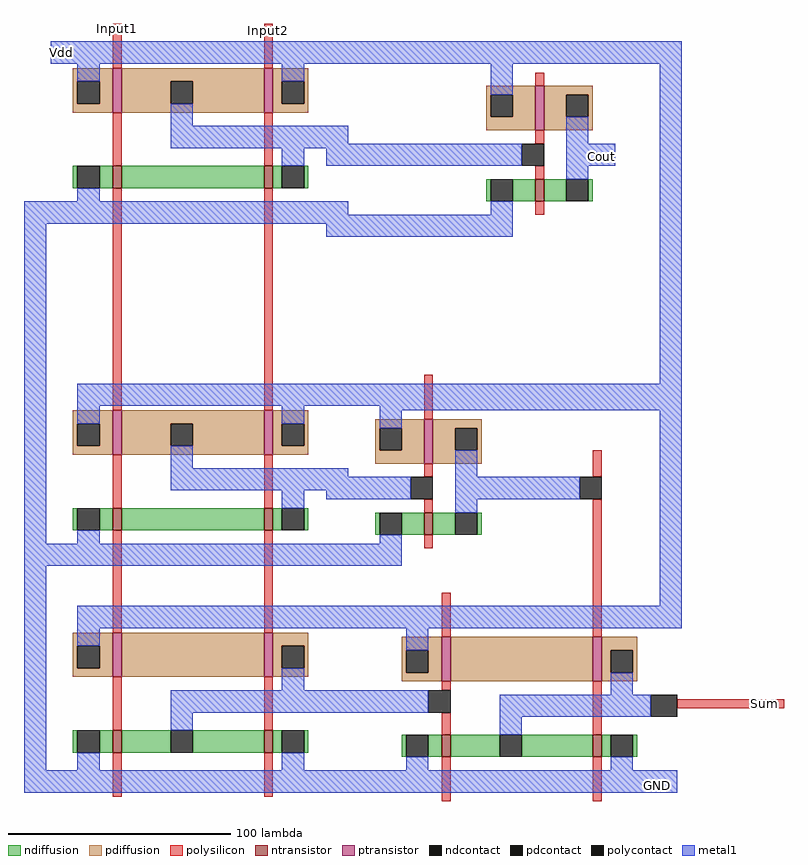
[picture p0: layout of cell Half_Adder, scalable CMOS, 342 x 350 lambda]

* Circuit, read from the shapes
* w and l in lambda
.subckt Half_Adder Cout GND Input1 Input2 Sum Vdd
M1 n1 Input1 GND VSUBS nfet w=10 l=4
M2 n2 Input1 GND VSUBS nfet w=10 l=4
M3 n3 Input1 GND VSUBS nfet w=10 l=4
M4 GND Input2 n1 VSUBS nfet w=10 l=4
M5 n4 Input2 n2 VSUBS nfet w=10 l=4
M6 n5 Input2 n3 VSUBS nfet w=10 l=4
M7 n6 n4 GND VSUBS nfet w=10 l=4
M8 Sum n1 GND VSUBS nfet w=10 l=4
M9 Cout n5 GND VSUBS nfet w=10 l=4
M10 GND n6 Sum VSUBS nfet w=10 l=4
M11 n7 Input1 Vdd NWELL pfet w=20 l=4
M12 n4 Input1 Vdd NWELL pfet w=20 l=4
M13 n5 Input1 Vdd NWELL pfet w=20 l=4
M14 n1 Input2 n7 NWELL pfet w=20 l=4
M15 Vdd Input2 n4 NWELL pfet w=20 l=4
M16 Vdd Input2 n5 NWELL pfet w=20 l=4
M17 n6 n4 Vdd NWELL pfet w=20 l=4
M18 n8 n1 Vdd NWELL pfet w=20 l=4
M19 Cout n5 Vdd NWELL pfet w=20 l=4
M20 Sum n6 n8 NWELL pfet w=20 l=4
.ends

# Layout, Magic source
magic
tech scmos
<< polysilicon >>
rect 8 278 12 298
rect 76 278 80 298
rect 198 270 202 276
rect 8 234 12 258
rect 76 234 80 258
rect 198 244 202 250
rect 198 228 202 234
rect 8 124 12 224
rect 76 124 80 224
rect 198 212 202 218
rect 148 120 152 140
rect 8 80 12 104
rect 76 80 80 104
rect 148 94 152 100
rect 224 94 228 106
rect 148 78 152 84
rect 8 24 12 70
rect 76 24 80 70
rect 148 62 152 68
rect 156 22 160 42
rect 224 22 228 84
rect 8 -20 12 4
rect 76 -20 80 4
rect 156 -2 160 2
rect 156 -22 160 -12
rect 224 -22 228 2
rect 262 -10 310 -6
rect 8 -50 12 -30
rect 76 -50 80 -30
rect 156 -52 160 -32
rect 224 -52 228 -32
<< ndiffusion >>
rect -10 224 -8 234
rect 2 224 8 234
rect 12 224 76 234
rect 80 224 84 234
rect 94 224 96 234
rect 176 218 178 228
rect 188 218 198 228
rect 202 218 212 228
rect 222 218 224 228
rect -10 70 -8 80
rect 2 70 8 80
rect 12 70 76 80
rect 80 70 84 80
rect 94 70 96 80
rect 126 68 128 78
rect 138 68 148 78
rect 152 68 162 78
rect 172 68 174 78
rect -10 -30 -8 -20
rect 2 -30 8 -20
rect 12 -30 34 -20
rect 44 -30 76 -20
rect 80 -30 84 -20
rect 94 -30 96 -20
rect 138 -32 140 -22
rect 150 -32 156 -22
rect 160 -32 182 -22
rect 192 -32 224 -22
rect 228 -32 232 -22
rect 242 -32 244 -22
<< pdiffusion >>
rect -10 272 8 278
rect -10 262 -8 272
rect 2 262 8 272
rect -10 258 8 262
rect 12 272 76 278
rect 12 262 34 272
rect 44 262 76 272
rect 12 258 76 262
rect 80 272 96 278
rect 80 262 84 272
rect 94 262 96 272
rect 80 258 96 262
rect 176 266 198 270
rect 176 256 178 266
rect 188 256 198 266
rect 176 250 198 256
rect 202 266 224 270
rect 202 256 212 266
rect 222 256 224 266
rect 202 250 224 256
rect -10 118 8 124
rect -10 108 -8 118
rect 2 108 8 118
rect -10 104 8 108
rect 12 118 76 124
rect 12 108 34 118
rect 44 108 76 118
rect 12 104 76 108
rect 80 118 96 124
rect 80 108 84 118
rect 94 108 96 118
rect 80 104 96 108
rect 126 116 148 120
rect 126 106 128 116
rect 138 106 148 116
rect 126 100 148 106
rect 152 116 174 120
rect 152 106 162 116
rect 172 106 174 116
rect 152 100 174 106
rect -10 18 8 24
rect -10 8 -8 18
rect 2 8 8 18
rect -10 4 8 8
rect 12 4 76 24
rect 80 18 96 24
rect 80 8 84 18
rect 94 8 96 18
rect 80 4 96 8
rect 138 16 156 22
rect 138 6 140 16
rect 150 6 156 16
rect 138 2 156 6
rect 160 2 224 22
rect 228 16 244 22
rect 228 6 232 16
rect 242 6 244 16
rect 228 2 244 6
<< metal1 >>
rect -20 280 264 290
rect -8 272 2 280
rect 84 272 94 280
rect 178 266 188 280
rect 34 252 44 262
rect 34 244 114 252
rect 212 244 222 256
rect 34 242 192 244
rect 84 234 94 242
rect 104 234 192 242
rect 212 234 234 244
rect 212 228 222 234
rect -8 218 2 224
rect -32 212 114 218
rect 178 212 188 218
rect -32 208 188 212
rect -32 64 -22 208
rect 104 202 188 208
rect 254 136 264 280
rect -8 126 264 136
rect -8 118 2 126
rect 84 118 94 126
rect 128 124 264 126
rect 128 116 138 124
rect 34 98 44 108
rect 34 94 114 98
rect 162 94 172 106
rect 34 88 142 94
rect 84 80 94 88
rect 104 84 142 88
rect 162 84 218 94
rect 162 78 172 84
rect -8 64 2 70
rect 128 64 138 68
rect -32 54 138 64
rect -32 -38 -22 54
rect 254 36 264 124
rect -8 26 264 36
rect -8 18 2 26
rect 84 -2 94 8
rect 140 16 150 26
rect 34 -12 150 -2
rect 232 -4 242 6
rect 34 -20 44 -12
rect 182 -14 250 -4
rect 182 -22 192 -14
rect -8 -38 2 -30
rect 84 -38 94 -30
rect 140 -38 150 -32
rect 232 -38 242 -32
rect -32 -48 262 -38
<< ntransistor >>
rect 8 224 12 234
rect 76 224 80 234
rect 198 218 202 228
rect 8 70 12 80
rect 76 70 80 80
rect 148 68 152 78
rect 8 -30 12 -20
rect 76 -30 80 -20
rect 156 -32 160 -22
rect 224 -32 228 -22
<< ptransistor >>
rect 8 258 12 278
rect 76 258 80 278
rect 198 250 202 270
rect 8 104 12 124
rect 76 104 80 124
rect 148 100 152 120
rect 8 4 12 24
rect 76 4 80 24
rect 156 2 160 22
rect 224 2 228 22
<< polycontact >>
rect 192 234 202 244
rect 142 84 152 94
rect 218 84 228 94
rect 150 -12 160 -2
rect 250 -14 262 -4
<< ndcontact >>
rect -8 224 2 234
rect 84 224 94 234
rect 178 218 188 228
rect 212 218 222 228
rect -8 70 2 80
rect 84 70 94 80
rect 128 68 138 78
rect 162 68 172 78
rect -8 -30 2 -20
rect 34 -30 44 -20
rect 84 -30 94 -20
rect 140 -32 150 -22
rect 182 -32 192 -22
rect 232 -32 242 -22
<< pdcontact >>
rect -8 262 2 272
rect 34 262 44 272
rect 84 262 94 272
rect 178 256 188 266
rect 212 256 222 266
rect -8 108 2 118
rect 34 108 44 118
rect 84 108 94 118
rect 128 106 138 116
rect 162 106 172 116
rect -8 8 2 18
rect 84 8 94 18
rect 140 6 150 16
rect 232 6 242 16
<< labels >>
rlabel metal1 -15 285 -15 285 1 Vdd
rlabel polysilicon 10 296 10 296 5 Input1
rlabel polysilicon 78 295 78 295 5 Input2
rlabel metal1 253 -45 253 -45 1 GND
rlabel metal1 228 238 228 238 1 Cout
rlabel polysilicon 301 -8 301 -8 1 Sum
<< end >>
